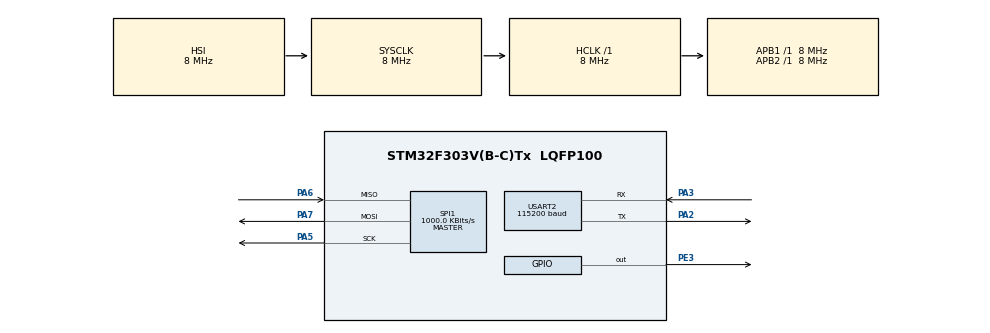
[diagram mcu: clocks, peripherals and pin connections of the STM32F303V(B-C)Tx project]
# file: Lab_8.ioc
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Mcu.Family=STM32F3
Mcu.Name=STM32F303V(B-C)Tx
Mcu.Package=LQFP100
NVIC.PriorityGroup=NVIC_PRIORITYGROUP_4
NVIC.SPI1_IRQn=true\:0\:0\:false\:false\:true\:true\:true\:true
PA2.Mode=Asynchronous
PA2.Signal=USART2_TX
PA3.Mode=Asynchronous
PA3.Signal=USART2_RX
PA5.Mode=Full_Duplex_Master
PA5.Signal=SPI1_SCK
PA6.Mode=Full_Duplex_Master
PA6.Signal=SPI1_MISO
PA7.Mode=Full_Duplex_Master
PA7.Signal=SPI1_MOSI
PE3.Signal=GPIO_Output
ProjectManager.HeapSize=0x200
ProjectManager.StackSize=0x400
ProjectManager.TargetToolchain=CMake
RCC.AHBFreq_Value=8000000
RCC.APB1Freq_Value=8000000
RCC.APB2Freq_Value=8000000
RCC.CortexFreq_Value=8000000
RCC.HSE_VALUE=8000000
RCC.HSI_VALUE=8000000
RCC.LSE_VALUE=32768
RCC.SYSCLKFreq_VALUE=8000000
SPI1.BaudRatePrescaler=SPI_BAUDRATEPRESCALER_8
SPI1.CLKPhase=SPI_PHASE_2EDGE
SPI1.CLKPolarity=SPI_POLARITY_HIGH
SPI1.CalculateBaudRate=1000.0 KBits/s
SPI1.DataSize=SPI_DATASIZE_8BIT
SPI1.Direction=SPI_DIRECTION_2LINES
SPI1.Mode=SPI_MODE_MASTER
SPI1.VirtualType=VM_MASTER
USART2.BaudRate=115200
USART2.VirtualMode-Asynchronous=VM_ASYNC
board=custom

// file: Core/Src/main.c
/* USER CODE BEGIN Header */
/**
  ******************************************************************************
  * @file           : main.c
  * @brief          : Main program body
  ******************************************************************************
  * @attention
  *
  * Copyright (c) 2026 STMicroelectronics.
  * All rights reserved.
  *
  * This software is licensed under terms that can be found in the LICENSE file
  * in the root directory of this software component.
  * If no LICENSE file comes with this software, it is provided AS-IS.
  *
  ******************************************************************************
  */
/* USER CODE END Header */
#include "main.h"

/* USER CODE BEGIN Includes */
#include "stdarg.h"
#include "stdio.h"
#include "stm32f3xx_hal.h"
#include "stm32f3xx_hal_spi.h"
#include <stdint.h>
#include <strings.h>
#include <string.h>
/* USER CODE END Includes */

SPI_HandleTypeDef hspi1;

UART_HandleTypeDef huart2;

void SystemClock_Config(void);
static void MX_GPIO_Init(void);
static void MX_SPI1_Init(void);
static void MX_USART2_UART_Init(void);

/* USER CODE BEGIN 0 */
void myPrintf(const char* fmt, ...)
{
  char buffer[512];

  // Step 2: Initialize the variadic argument list.
  va_list args;
  va_start(args, fmt);

  // Step 3: Format the final string using vsnprintf.
  // vsnprintf is "v" (takes a va_list) and "n" (prevents buffer overflow).
  int length = vsnprintf(buffer, sizeof(buffer), fmt, args);

  // Clean up the variadic argument list
  va_end(args);

  // Step 4: Transmit the string over UART using HAL_UART_Transmit.
  // We cast buffer to (uint8_t*) as required by the HAL library.
  if (length > 0) {
      HAL_UART_Transmit(&huart2, (uint8_t*)buffer, (uint16_t)length, HAL_MAX_DELAY);
  }
};

// TASK 2
// #define OUT_TEMP 0x26
// #define READ 0x80
// uint8_t tx_buffer = READ | OUT_TEMP;
// uint8_t rx_buffer;
// int rx_complete = 0;

// //tx_buffer for temperature

// // If this function is called, that means
// void HAL_SPI_TxCpltCallback(SPI_HandleTypeDef *hspi){
//   if (hspi->Instance == SPI1) {
//     HAL_SPI_Receive_IT(&hspi1, &rx_buffer, sizeof(rx_buffer));
//   }
// };

// void HAL_SPI_RxCpltCallback(SPI_HandleTypeDef *hspi){
//   if (hspi->Instance == SPI1) {
//     // End communication
//     HAL_GPIO_WritePin(GPIOE, GPIO_PIN_3, GPIO_PIN_SET);

//     // Start new communication
//     HAL_GPIO_WritePin(GPIOE, GPIO_PIN_3, GPIO_PIN_RESET);
//     HAL_SPI_Transmit_IT (&hspi1 , &tx_buffer , sizeof(tx_buffer));

//     //This can cause issues UART is a bit slower than SPI, so we will print in main loop
//     myPrintf("%00X \r\n", rx_buffer);
//   }
// }

// // We also have to enable the sensors
// #define CTRL_REG1 0x20
// #define CTRL_REG1_VAL 0b00001111
// uint8_t specialtx[2] = { CTRL_REG1 , CTRL_REG1_VAL };
// //This will be called only once
// void start_gyro_reading() {

//     // We send the command to read temperature
//     HAL_GPIO_WritePin(GPIOE, GPIO_PIN_3, GPIO_PIN_RESET);
//     HAL_SPI_Transmit(&hspi1, specialtx, sizeof(specialtx), HAL_MAX_DELAY);
//     HAL_GPIO_WritePin (GPIOE , GPIO_PIN_3 , GPIO_PIN_SET );

//     HAL_GPIO_WritePin(GPIOE, GPIO_PIN_3, GPIO_PIN_RESET);
//     HAL_SPI_Transmit_IT(&hspi1, &tx_buffer, sizeof(tx_buffer));
// }

//Task 3
// --- Definitions ---
#define CTRL_REG1     0x20
#define CTRL_REG1_VAL 0b10001111 // Power on, 100Hz, all axes enabled
#define OUT_TEMP      0x26
#define READ 0x80
#define MS_BIT        0x40 // Required for multi-byte reads

// Address 0x26 | READ | MS = 0xE6
// This will read Temp, Status, XL, XH, YL, YH, ZL, ZH in one go (8 bytes)
uint8_t tx_addr_packet = READ | MS_BIT | OUT_TEMP;
uint8_t rx_buffer[8]; // [0]=Temp, [1]=Status, [2-7]=X,Y,Z
volatile int data_ready = 0;

void start_gyro_reading() {
    // 1. Initialization (Blocking is fine here as it's once)
    uint8_t init_data[2] = { CTRL_REG1, CTRL_REG1_VAL };
    HAL_GPIO_WritePin(GPIOE, GPIO_PIN_3, GPIO_PIN_RESET);
    HAL_SPI_Transmit(&hspi1, init_data, 2, HAL_MAX_DELAY);
    HAL_GPIO_WritePin(GPIOE, GPIO_PIN_3, GPIO_PIN_SET);

    // 2. Start the first non-blocking Interrupt chain
    HAL_GPIO_WritePin(GPIOE, GPIO_PIN_3, GPIO_PIN_RESET);
    HAL_SPI_Transmit_IT(&hspi1, &tx_addr_packet, 1);
}

void HAL_SPI_TxCpltCallback(SPI_HandleTypeDef *hspi) {
    if (hspi->Instance == SPI1) {
        // Address sent, now receive the 8-byte burst
        HAL_SPI_Receive_IT(&hspi1, rx_buffer, 8);
    }
}

void HAL_SPI_RxCpltCallback(SPI_HandleTypeDef *hspi) {
    if (hspi->Instance == SPI1) {
        // End current SPI transaction
        HAL_GPIO_WritePin(GPIOE, GPIO_PIN_3, GPIO_PIN_SET);

        data_ready = 1; // Signal main loop to process and print

        // Optional: Re-trigger immediately or via a Timer
        // HAL_GPIO_WritePin(GPIOE, GPIO_PIN_3, GPIO_PIN_RESET);
        // HAL_SPI_Transmit_IT(&hspi1, &tx_addr_packet, 1);
    }
}

/* USER CODE END 0 */

int main(void)
{

  /* MCU Configuration--------------------------------------------------------*/

  /* Reset of all peripherals, Initializes the Flash interface and the Systick. */
  HAL_Init();

  /* Configure the system clock */
  SystemClock_Config();

  /* Initialize all configured peripherals */
  MX_GPIO_Init();
  MX_SPI1_Init();
  MX_USART2_UART_Init();
  /* USER CODE BEGIN 2 */

  // Task 1
  // 0x80 = Read operation
  // 0x0F = WHO_AM_I register for i3g4250d
  // uint8_t operation = 0x80 | 0x0F;
  // uint8_t dataRecieved;

  // Task 2
  start_gyro_reading();
  /* USER CODE END 2 */

  /* Infinite loop */
  while (1)
  {

    /* USER CODE BEGIN 3 */
    // TASK 1
    // As we are doing polling, every loop we will Transmit and recieve also.
    // SET GPIO PE3 to LOW to recieve from i3g4250d -> Acts as selection, and start of communication
    // HAL_GPIO_WritePin(GPIOE, GPIO_PIN_3, GPIO_PIN_RESET);
    // // SPI 1
    // HAL_SPI_Transmit(&hspi1, &operation, 1,10);
    // HAL_SPI_Receive(&hspi1, &dataRecieved, 1, 10);

    // // SET GPIO PE3 to HIGH to end communication;
    // HAL_GPIO_WritePin(GPIOE , GPIO_PIN_3 , GPIO_PIN_SET);

    // myPrintf("Sensor Data (i3g4250d): %003X \r\n", dataRecieved);
    // HAL_Delay(100);

    // Task 2
    HAL_Delay(80);

    // Task 3
    if (data_ready) {
        // 1. Combine bytes (Little Endian)
        int16_t x_raw = (int16_t)((rx_buffer[3] << 8) | rx_buffer[2]);
        int16_t y_raw = (int16_t)((rx_buffer[5] << 8) | rx_buffer[4]);
        int16_t z_raw = (int16_t)((rx_buffer[7] << 8) | rx_buffer[6]);
        uint8_t temp  = rx_buffer[0];

        // 2. Convert to DPS (Sensitivity 8.75 mdps/digit)
        float x_dps = x_raw * 0.00875f;
        float y_dps = y_raw * 0.00875f;
        float z_dps = z_raw * 0.00875f;

        // 3. Print in Decimal format for your Python script
        // Note: Use %d and %f, NOT %X, so Python's int() works!
        myPrintf("%d,%.2f,%.2f,%.2f\r\n", temp, x_dps, y_dps, z_dps);

        data_ready = 0;

        // 4. Trigger next read (if not doing it in callback)
        HAL_Delay(50); // Control sample rate so you don't overwhelm UART
        HAL_GPIO_WritePin(GPIOE, GPIO_PIN_3, GPIO_PIN_RESET);
        HAL_SPI_Transmit_IT(&hspi1, &tx_addr_packet, 1);
  }
  /* USER CODE END 3 */
}
}

void SystemClock_Config(void)
{
  RCC_OscInitTypeDef RCC_OscInitStruct = {0};
  RCC_ClkInitTypeDef RCC_ClkInitStruct = {0};
  RCC_PeriphCLKInitTypeDef PeriphClkInit = {0};

  /** Initializes the RCC Oscillators according to the specified parameters
  * in the RCC_OscInitTypeDef structure.
  */
  RCC_OscInitStruct.OscillatorType = RCC_OSCILLATORTYPE_HSI;
  RCC_OscInitStruct.HSIState = RCC_HSI_ON;
  RCC_OscInitStruct.HSICalibrationValue = RCC_HSICALIBRATION_DEFAULT;
  RCC_OscInitStruct.PLL.PLLState = RCC_PLL_NONE;
  if (HAL_RCC_OscConfig(&RCC_OscInitStruct) != HAL_OK)
  {
    Error_Handler();
  }

  /** Initializes the CPU, AHB and APB buses clocks
  */
  RCC_ClkInitStruct.ClockType = RCC_CLOCKTYPE_HCLK|RCC_CLOCKTYPE_SYSCLK
                              |RCC_CLOCKTYPE_PCLK1|RCC_CLOCKTYPE_PCLK2;
  RCC_ClkInitStruct.SYSCLKSource = RCC_SYSCLKSOURCE_HSI;
  RCC_ClkInitStruct.AHBCLKDivider = RCC_SYSCLK_DIV1;
  RCC_ClkInitStruct.APB1CLKDivider = RCC_HCLK_DIV1;
  RCC_ClkInitStruct.APB2CLKDivider = RCC_HCLK_DIV1;

  if (HAL_RCC_ClockConfig(&RCC_ClkInitStruct, FLASH_LATENCY_0) != HAL_OK)
  {
    Error_Handler();
  }
  PeriphClkInit.PeriphClockSelection = RCC_PERIPHCLK_USART2;
  PeriphClkInit.Usart2ClockSelection = RCC_USART2CLKSOURCE_PCLK1;
  if (HAL_RCCEx_PeriphCLKConfig(&PeriphClkInit) != HAL_OK)
  {
    Error_Handler();
  }
}

static void MX_SPI1_Init(void)
{

  /* SPI1 parameter configuration*/
  hspi1.Instance = SPI1;
  hspi1.Init.Mode = SPI_MODE_MASTER;
  hspi1.Init.Direction = SPI_DIRECTION_2LINES;
  hspi1.Init.DataSize = SPI_DATASIZE_8BIT;
  hspi1.Init.CLKPolarity = SPI_POLARITY_HIGH;
  hspi1.Init.CLKPhase = SPI_PHASE_2EDGE;
  hspi1.Init.NSS = SPI_NSS_SOFT;
  hspi1.Init.BaudRatePrescaler = SPI_BAUDRATEPRESCALER_8;
  hspi1.Init.FirstBit = SPI_FIRSTBIT_MSB;
  hspi1.Init.TIMode = SPI_TIMODE_DISABLE;
  hspi1.Init.CRCCalculation = SPI_CRCCALCULATION_DISABLE;
  hspi1.Init.CRCPolynomial = 7;
  hspi1.Init.CRCLength = SPI_CRC_LENGTH_DATASIZE;
  hspi1.Init.NSSPMode = SPI_NSS_PULSE_DISABLE;
  if (HAL_SPI_Init(&hspi1) != HAL_OK)
  {
    Error_Handler();
  }

}

static void MX_USART2_UART_Init(void)
{

  huart2.Instance = USART2;
  huart2.Init.BaudRate = 115200;
  huart2.Init.WordLength = UART_WORDLENGTH_8B;
  huart2.Init.StopBits = UART_STOPBITS_1;
  huart2.Init.Parity = UART_PARITY_NONE;
  huart2.Init.Mode = UART_MODE_TX_RX;
  huart2.Init.HwFlowCtl = UART_HWCONTROL_NONE;
  huart2.Init.OverSampling = UART_OVERSAMPLING_16;
  huart2.Init.OneBitSampling = UART_ONE_BIT_SAMPLE_DISABLE;
  huart2.AdvancedInit.AdvFeatureInit = UART_ADVFEATURE_NO_INIT;
  if (HAL_UART_Init(&huart2) != HAL_OK)
  {
    Error_Handler();
  }

}

static void MX_GPIO_Init(void)
{
  GPIO_InitTypeDef GPIO_InitStruct = {0};

  /* GPIO Ports Clock Enable */
  __HAL_RCC_GPIOE_CLK_ENABLE();
  __HAL_RCC_GPIOA_CLK_ENABLE();

  /*Configure GPIO pin Output Level */
  HAL_GPIO_WritePin(GPIOE, GPIO_PIN_3, GPIO_PIN_RESET);

  /*Configure GPIO pin : PE3 */
  GPIO_InitStruct.Pin = GPIO_PIN_3;
  GPIO_InitStruct.Mode = GPIO_MODE_OUTPUT_PP;
  GPIO_InitStruct.Pull = GPIO_NOPULL;
  GPIO_InitStruct.Speed = GPIO_SPEED_FREQ_LOW;
  HAL_GPIO_Init(GPIOE, &GPIO_InitStruct);

}

void Error_Handler(void)
{
  __disable_irq();
  while (1)
  {
  }
}
